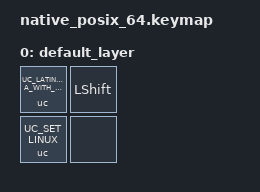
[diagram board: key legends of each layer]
#include <behaviors/unicode.dtsi>
#include <zmk-unicode/keys-extra.h>
#include <dt-bindings/zmk/keys.h>
#include <behaviors.dtsi>
#include <dt-bindings/zmk/kscan_mock.h>

/ {
    keymap {
        compatible = "zmk,keymap";
        default_layer {
            bindings = <
                &uc UC_LATIN_LETTER_A_WITH_GRAVE &kp LSHFT
                &uc UC_SET_LINUX &none
            >;
        };
    };
};

&kscan {
    events = <
        ZMK_MOCK_PRESS(0,0,100)
        ZMK_MOCK_RELEASE(0,0,10)
    >;
};
